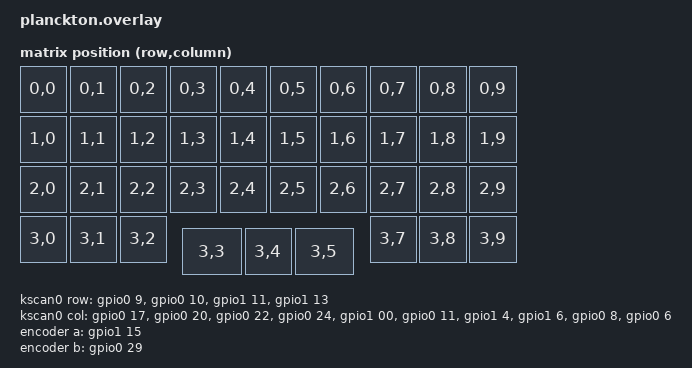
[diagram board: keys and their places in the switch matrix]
/*
 * Copyright (c) 2025
 *
 * SPDX-License-Identifier: MIT
 */

#include <dt-bindings/zmk/matrix_transform.h>
#include <physical_layouts.dtsi>

/ {
    chosen {
        zmk,kscan = &kscan0;
        zmk,physical-layout = &planckton_physical_layout;
        zmk,studio-rpc-uart = &studio_rpc_usb_uart;
        zephyr,settings-partition = &storage_partition;
    };

    /* Matrix-Transform für 4x10 Layout */
    default_transform: keymap_transform_0 {
        compatible = "zmk,matrix-transform";
        rows = <4>;
        columns = <10>;
        map = <
            RC(0,0) RC(0,1) RC(0,2) RC(0,3) RC(0,4) RC(0,5) RC(0,6) RC(0,7) RC(0,8) RC(0,9)
            RC(1,0) RC(1,1) RC(1,2) RC(1,3) RC(1,4) RC(1,5) RC(1,6) RC(1,7) RC(1,8) RC(1,9)
            RC(2,0) RC(2,1) RC(2,2) RC(2,3) RC(2,4) RC(2,5) RC(2,6) RC(2,7) RC(2,8) RC(2,9)
            RC(3,0) RC(3,1) RC(3,2) RC(3,3) RC(3,4)         RC(3,5) RC(3,7) RC(3,8) RC(3,9)
        >;
    };

    /* GPIO Matrix Definition (4 Rows, 10 Cols) */
    kscan0: kscan {
        compatible = "zmk,kscan-gpio-matrix";
        wakeup-source;
        diode-direction = "col2row";

        /* HIER PINS ANPASSEN (Spalten) */
        col-gpios
            = <&gpio0  17 GPIO_ACTIVE_HIGH> // Col 0
            , <&gpio0  20 GPIO_ACTIVE_HIGH> // Col 1
            , <&gpio0 22 GPIO_ACTIVE_HIGH> // Col 2
            , <&gpio0 24 GPIO_ACTIVE_HIGH> // Col 3
            , <&gpio1 00 GPIO_ACTIVE_HIGH> // Col 4
            , <&gpio0 11 GPIO_ACTIVE_HIGH> // Col 5
            , <&gpio1  4 GPIO_ACTIVE_HIGH> // Col 6
            , <&gpio1  6 GPIO_ACTIVE_HIGH> // Col 7
            , <&gpio0  8 GPIO_ACTIVE_HIGH> // Col 8
            , <&gpio0  6 GPIO_ACTIVE_HIGH> // Col 9
            ;

        /* HIER PINS ANPASSEN (Zeilen) */
        row-gpios
            = <&gpio0  9 (GPIO_ACTIVE_HIGH | GPIO_PULL_DOWN)> // Row 0
            , <&gpio0 10 (GPIO_ACTIVE_HIGH | GPIO_PULL_DOWN)> // Row 1
            , <&gpio1 11 (GPIO_ACTIVE_HIGH | GPIO_PULL_DOWN)> // Row 2
            , <&gpio1 13 (GPIO_ACTIVE_HIGH | GPIO_PULL_DOWN)> // Row 3
            ;
    };

    /* Optionaler Encoder Definition */
    encoder: encoder {
        compatible = "alps,ec11";
        label = "ENCODER";
        /* HIER PINS ANPASSEN (A, B) */
        a-gpios = <&gpio1 15 (GPIO_ACTIVE_LOW | GPIO_PULL_UP)>;
        b-gpios = <&gpio0 29 (GPIO_ACTIVE_LOW | GPIO_PULL_UP)>;
        steps = <80>;
        status = "okay"; // Auf "disabled" setzen, wenn kein Encoder verwendet wird
    };

    sensors: sensors {
        compatible = "zmk,keymap-sensors";
        sensors = <&encoder>;
        triggers-per-rotation = <20>;
        status = "okay";
    };

    /* Physical Layout für ZMK Studio */
    planckton_physical_layout: physical_layout_0 {
        compatible = "zmk,physical-layout";
        display-name = "Planckton 4x10";
        transform = <&default_transform>;
        kscan = <&kscan0>;

        /* 4x10 Ortho Layout Koordinaten (100 = 1u) */
        keys  //                     w   h    x    y     rot    rx    ry
            = <&key_physical_attrs 100 100    0    0       0     0     0>
            , <&key_physical_attrs 100 100  100    0       0     0     0>
            , <&key_physical_attrs 100 100  200    0       0     0     0>
            , <&key_physical_attrs 100 100  300    0       0     0     0>
            , <&key_physical_attrs 100 100  400    0       0     0     0>
            , <&key_physical_attrs 100 100  500    0       0     0     0>
            , <&key_physical_attrs 100 100  600    0       0     0     0>
            , <&key_physical_attrs 100 100  700    0       0     0     0>
            , <&key_physical_attrs 100 100  800    0       0     0     0>
            , <&key_physical_attrs 100 100  900    0       0     0     0>
            , <&key_physical_attrs 100 100    0  100       0     0     0>
            , <&key_physical_attrs 100 100  100  100       0     0     0>
            , <&key_physical_attrs 100 100  200  100       0     0     0>
            , <&key_physical_attrs 100 100  300  100       0     0     0>
            , <&key_physical_attrs 100 100  400  100       0     0     0>
            , <&key_physical_attrs 100 100  500  100       0     0     0>
            , <&key_physical_attrs 100 100  600  100       0     0     0>
            , <&key_physical_attrs 100 100  700  100       0     0     0>
            , <&key_physical_attrs 100 100  800  100       0     0     0>
            , <&key_physical_attrs 100 100  900  100       0     0     0>
            , <&key_physical_attrs 100 100    0  200       0     0     0>
            , <&key_physical_attrs 100 100  100  200       0     0     0>
            , <&key_physical_attrs 100 100  200  200       0     0     0>
            , <&key_physical_attrs 100 100  300  200       0     0     0>
            , <&key_physical_attrs 100 100  400  200       0     0     0>
            , <&key_physical_attrs 100 100  500  200       0     0     0>
            , <&key_physical_attrs 100 100  600  200       0     0     0>
            , <&key_physical_attrs 100 100  700  200       0     0     0>
            , <&key_physical_attrs 100 100  800  200       0     0     0>
            , <&key_physical_attrs 100 100  900  200       0     0     0>
            , <&key_physical_attrs 100 100    0  300       0     0     0>
            , <&key_physical_attrs 100 100  100  300       0     0     0>
            , <&key_physical_attrs 100 100  200  300       0     0     0>
            , <&key_physical_attrs 125 100  325  325       0     0     0>
            , <&key_physical_attrs 100 100  450  325       0     0     0>
            , <&key_physical_attrs 125 100  550  325       0     0     0>
            , <&key_physical_attrs 100 100  700  300       0     0     0>
            , <&key_physical_attrs 100 100  800  300       0     0     0>
            , <&key_physical_attrs 100 100  900  300       0     0     0>
            ;
    };
};

zephyr_udc0: &usbd {
    status = "okay";
    studio_rpc_usb_uart: studio_rpc_usb_uart {
        compatible = "zephyr,cdc-acm-uart";
    };
};

&gpio0 {
    status = "okay";
    encoder_common {
        gpio-hog;
        gpios = <2 GPIO_ACTIVE_HIGH>;
        output-low;
        line-name = "encoder-common-ground";
    };
};

&uicr {
    nfct-pins-as-gpios;
};
